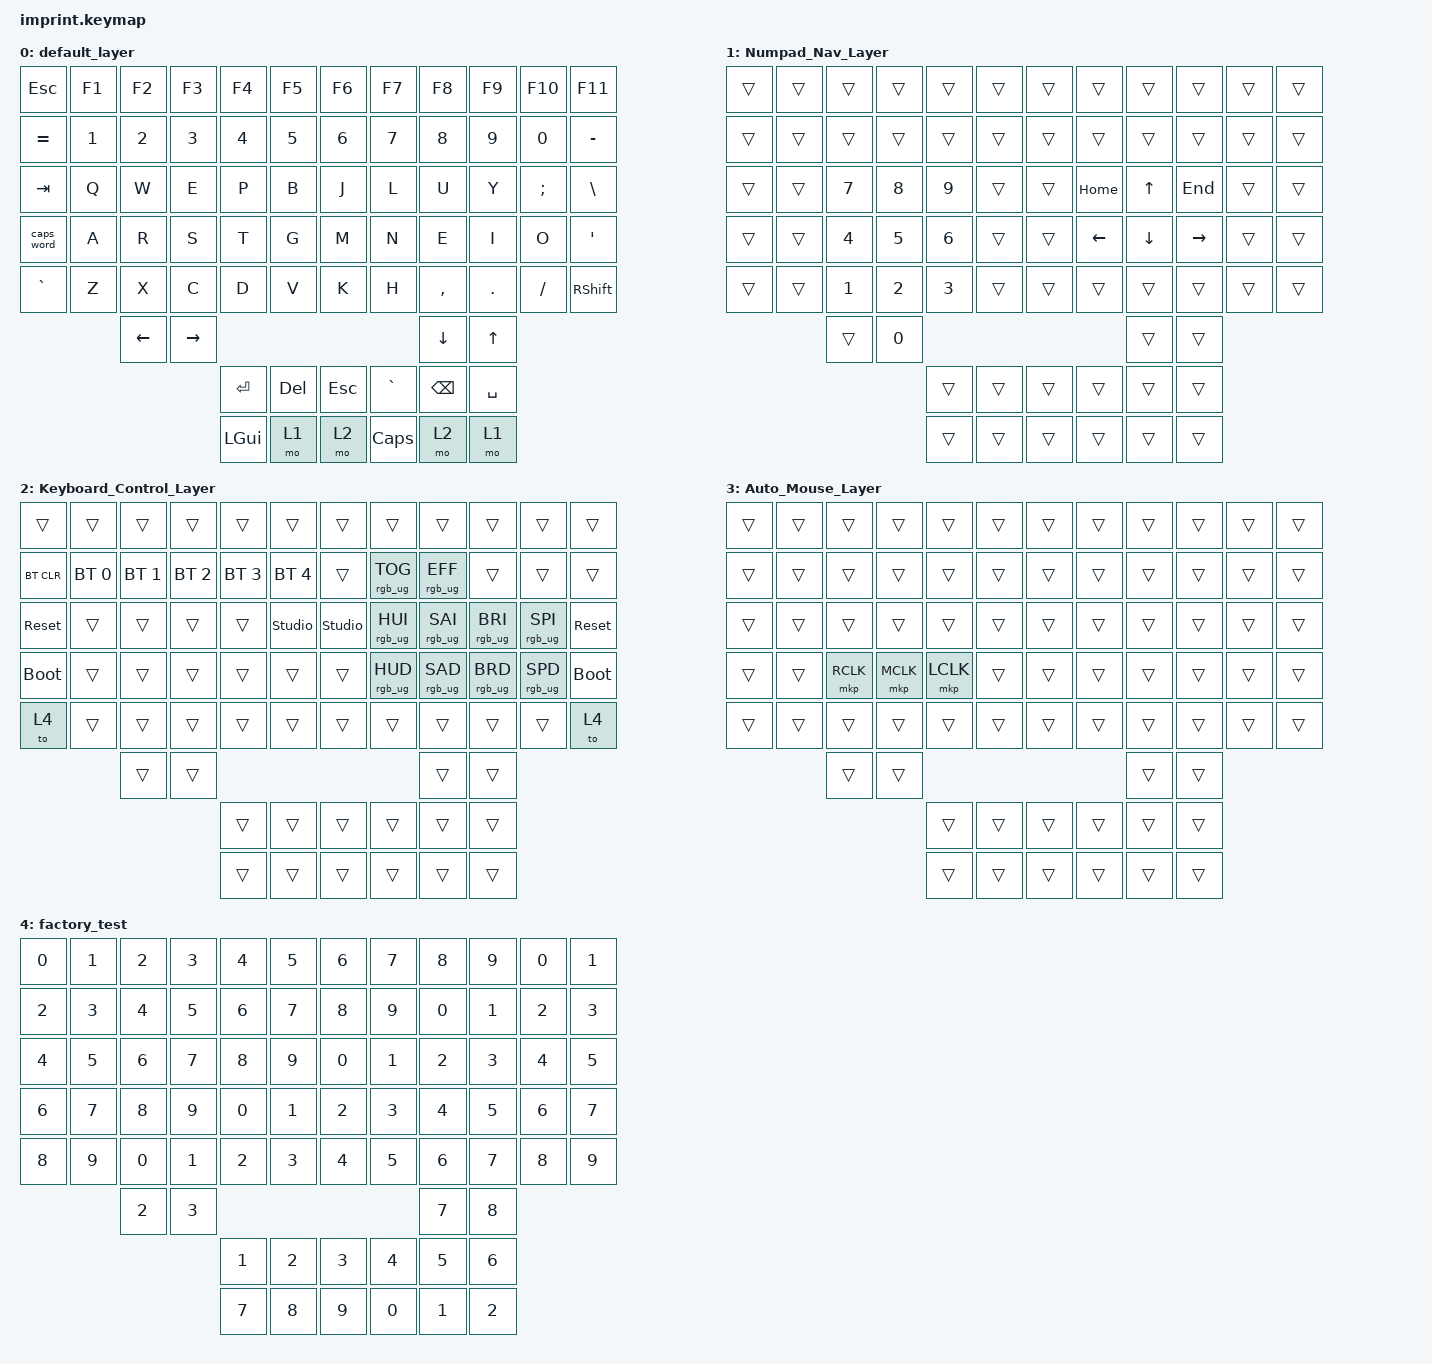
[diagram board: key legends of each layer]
#include <input/processors.dtsi>
#include <dt-bindings/zmk/input_transform.h>
#include <behaviors.dtsi>
#include <dt-bindings/zmk/bt.h>
#include <dt-bindings/zmk/keys.h>
#include <dt-bindings/zmk/pointing.h>
#include <dt-bindings/zmk/rgb.h>

/ {
    chosen { zmk,matrix-transform = &imprint_function_row; };

    behaviors {
        hrm_l: hrm_l {
            compatible = "zmk,behavior-hold-tap";
            label = "HRM_L";
            bindings = <&kp>, <&kp>;

            #binding-cells = <2>;
            tapping-term-ms = <200>;
            quick-tap-ms = <175>;
            hold-trigger-key-positions = <6 7 8 9 18 19 20 21 30 31 32 33 42 43 44 45 54 55 56 57 62 63 68 69 10 11 22 23 34 35 46 47 58 59 67 68 69 73 74 75 64 65 66 70 71 72>;
            hold-trigger-on-release;
        };

        hrm_r: hrm_r {
            compatible = "zmk,behavior-hold-tap";
            label = "HRM_R";
            bindings = <&kp>, <&kp>;

            #binding-cells = <2>;
            tapping-term-ms = <200>;
            quick-tap-ms = <175>;
            hold-trigger-on-release;
            hold-trigger-key-positions = <0 1 2 3 4 5 12 13 14 15 16 17 24 25 26 27 28 29 36 37 38 39 40 41 48 49 50 51 52 53 60 61 64 65 70 71 72 66>;
        };
    };

    keymap {
        compatible = "zmk,keymap";

        default_layer {
            bindings = <
&kp ESC     &kp F1  &kp F2          &kp F3     &kp F4    &kp F5              &kp F6     &kp F7    &kp F8     &kp F9        &kp F10        &kp F11
&kp EQUAL   &kp N1  &kp N2          &kp N3     &kp N4    &kp N5              &kp N6     &kp N7    &kp N8     &kp N9        &kp N0         &kp MINUS
&kp TAB     &kp Q   &kp W           &kp E      &kp P     &kp B               &kp J      &kp L     &kp U      &kp Y         &kp SEMICOLON  &kp BSLH
&caps_word  &kp A   &kp R           &kp S      &kp T     &kp G               &kp M      &kp N     &kp E      &kp I         &kp O          &kp SQT
&kp GRAVE   &kp Z   &kp X           &kp C      &kp D     &kp V               &kp K      &kp H     &kp COMMA  &kp DOT       &kp FSLH       &kp RSHFT
                    &kp LEFT_ARROW  &kp RIGHT                                                     &kp DOWN   &kp UP_ARROW
                                               &kp RET   &kp DEL  &kp ESC    &kp GRAVE  &kp BSPC  &kp SPACE
                                               &kp LGUI  &mo 1    &mo 2      &kp CAPS   &mo 2     &mo 1
            >;
        };

        Numpad_Nav_Layer {
            bindings = <
&trans  &trans  &trans  &trans  &trans  &trans            &trans  &trans    &trans    &trans     &trans  &trans
&trans  &trans  &trans  &trans  &trans  &trans            &trans  &trans    &trans    &trans     &trans  &trans
&trans  &trans  &kp N7  &kp N8  &kp N9  &trans            &trans  &kp HOME  &kp UP    &kp END    &trans  &trans
&trans  &trans  &kp N4  &kp N5  &kp N6  &trans            &trans  &kp LEFT  &kp DOWN  &kp RIGHT  &trans  &trans
&trans  &trans  &kp N1  &kp N2  &kp N3  &trans            &trans  &trans    &trans    &trans     &trans  &trans
                &trans  &kp N0                                              &trans    &trans
                                &trans  &trans  &trans    &trans  &trans    &trans
                                &trans  &trans  &trans    &trans  &trans    &trans
            >;
        };

        Keyboard_Control_Layer {
            bindings = <
&trans       &trans        &trans        &trans        &trans        &trans                    &trans          &trans           &trans           &trans           &trans           &trans
&bt BT_CLR   &bt BT_SEL 0  &bt BT_SEL 1  &bt BT_SEL 2  &bt BT_SEL 3  &bt BT_SEL 4              &trans          &rgb_ug RGB_TOG  &rgb_ug RGB_EFF  &trans           &trans           &trans
&sys_reset   &trans        &trans        &trans        &trans        &studio_unlock            &studio_unlock  &rgb_ug RGB_HUI  &rgb_ug RGB_SAI  &rgb_ug RGB_BRI  &rgb_ug RGB_SPI  &sys_reset
&bootloader  &trans        &trans        &trans        &trans        &trans                    &trans          &rgb_ug RGB_HUD  &rgb_ug RGB_SAD  &rgb_ug RGB_BRD  &rgb_ug RGB_SPD  &bootloader
&to 4        &trans        &trans        &trans        &trans        &trans                    &trans          &trans           &trans           &trans           &trans           &to 4
                           &trans        &trans                                                                                 &trans           &trans
                                                       &trans        &trans          &trans    &trans          &trans           &trans
                                                       &trans        &trans          &trans    &trans          &trans           &trans
            >;
        };

        Auto_Mouse_Layer {
            bindings = <
&trans  &trans  &trans     &trans     &trans     &trans            &trans  &trans  &trans  &trans  &trans  &trans
&trans  &trans  &trans     &trans     &trans     &trans            &trans  &trans  &trans  &trans  &trans  &trans
&trans  &trans  &trans     &trans     &trans     &trans            &trans  &trans  &trans  &trans  &trans  &trans
&trans  &trans  &mkp RCLK  &mkp MCLK  &mkp LCLK  &trans            &trans  &trans  &trans  &trans  &trans  &trans
&trans  &trans  &trans     &trans     &trans     &trans            &trans  &trans  &trans  &trans  &trans  &trans
                &trans     &trans                                                  &trans  &trans
                                      &trans     &trans  &trans    &trans  &trans  &trans
                                      &trans     &trans  &trans    &trans  &trans  &trans
            >;
        };

        factory_test {
            bindings = <
&kp N0  &kp N1  &kp N2  &kp N3  &kp N4  &kp N5            &kp N6  &kp N7  &kp N8  &kp N9  &kp N0  &kp N1
&kp N2  &kp N3  &kp N4  &kp N5  &kp N6  &kp N7            &kp N8  &kp N9  &kp N0  &kp N1  &kp N2  &kp N3
&kp N4  &kp N5  &kp N6  &kp N7  &kp N8  &kp N9            &kp N0  &kp N1  &kp N2  &kp N3  &kp N4  &kp N5
&kp N6  &kp N7  &kp N8  &kp N9  &kp N0  &kp N1            &kp N2  &kp N3  &kp N4  &kp N5  &kp N6  &kp N7
&kp N8  &kp N9  &kp N0  &kp N1  &kp N2  &kp N3            &kp N4  &kp N5  &kp N6  &kp N7  &kp N8  &kp N9
                &kp N2  &kp N3                                            &kp N7  &kp N8
                                &kp N1  &kp N2  &kp N3    &kp N4  &kp N5  &kp N6
                                &kp N7  &kp N8  &kp N9    &kp N0  &kp N1  &kp N2
            >;
        };
    };
};

// right hand trackball configuration
// &trackball_peripheral_listener {
//    input-processors =
//     activate layer 3 within 500ms of the trackball moving
//     <&zip_temp_layer 3 500>;
// };
//left hand trackball configuration

&trackball_central_listener {
    input-processors =
        // multiply sensitivity by 1, divide by 3 (make it slower for scrolling),,,
        <&zip_xy_scaler 1 3>,
        // make this trackball output scrolling events by default instead of cursor movement,,,
        <&zip_xy_to_scroll_mapper>,
        // invert vertical scrolling so that the view moves in the same direction as the top of the trackball.,,,
        <&zip_scroll_transform INPUT_TRANSFORM_Y_INVERT>;
};
